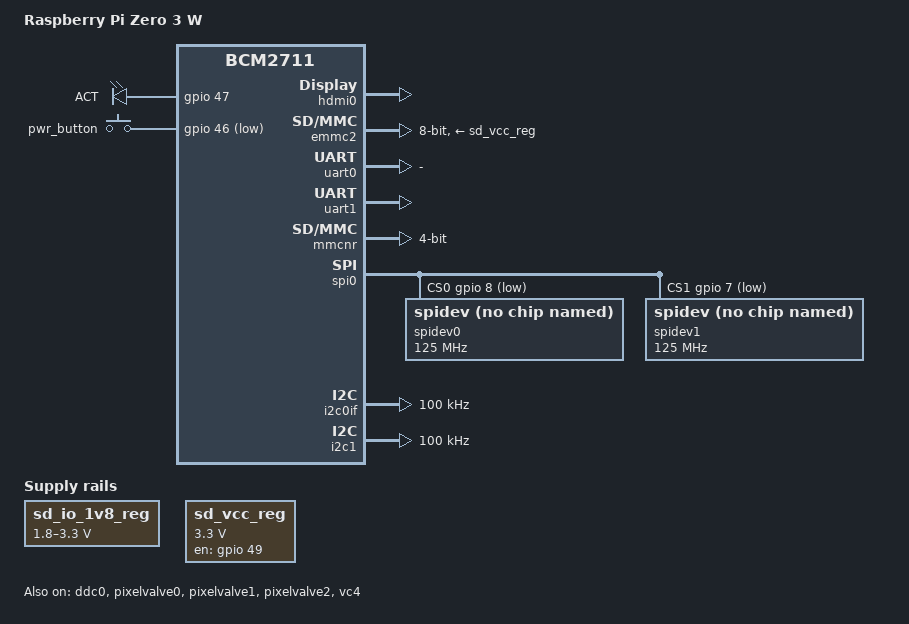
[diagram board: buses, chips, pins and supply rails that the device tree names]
// SPDX-License-Identifier: GPL-2.0
/dts-v1/;
#define BCM2711
#define i2c0 i2c0if
#include "bcm2711.dtsi"
#include "bcm2711-rpi.dtsi"
/delete-node/&i2c0mux;
#include "bcm283x-rpi-wifi-bt.dtsi"
#include <dt-bindings/leds/common.h>
#undef i2c0
#include "bcm270x.dtsi"
#define i2c0 i2c0mux
#undef i2c0

/ {
	compatible = "raspberrypi,model-zero-3-w", "brcm,bcm2711";
	model = "Raspberry Pi Zero 3 W";

	chosen {
		/* 8250 auxiliary UART instead of pl011 */
		stdout-path = "serial1:115200n8";
	};

	leds: leds {
		compatible = "gpio-leds";

		led_act: led-act {
			label = "ACT";
			gpios = <&gpio 47 GPIO_ACTIVE_HIGH>;
			default-state = "off";
			linux,default-trigger = "actpwr";
		};
	};

	sd_io_1v8_reg: regulator-sd-io-1v8 {
		compatible = "regulator-gpio";
		regulator-name = "vdd-sd-io";
		regulator-min-microvolt = <1800000>;
		regulator-max-microvolt = <3300000>;
		regulator-boot-on;
		regulator-always-on;
		regulator-settling-time-us = <5000>;
		gpios = <&gpio 56 GPIO_ACTIVE_HIGH>;
		states = <1800000 0x1>,
			 <3300000 0x0>;
		status = "okay";
	};

	sd_vcc_reg: regulator-sd-vcc {
		compatible = "regulator-fixed";
		regulator-name = "vcc-sd";
		regulator-min-microvolt = <3300000>;
		regulator-max-microvolt = <3300000>;
		regulator-boot-on;
		enable-active-high;
		gpio = <&gpio 49 GPIO_ACTIVE_HIGH>;
	};

	pwr_button {
		compatible = "gpio-keys";

		pwr_key: pwr {
			label = "pwr_button";
			linux,code = <116>; // KEY_POWER
			gpios = <&gpio 46 GPIO_ACTIVE_LOW>;
			debounce-interval = <50>; // ms
		};
	};
};

&bt {
	shutdown-gpios = <&gpio 28 GPIO_ACTIVE_HIGH>;
};

&ddc0 {
	status = "okay";
};

/* Permanently disable DDC1 */
&ddc1 {
	status = "disabled";
};

/delete-node/ &expgpio;

&gpio {
	/*
	 * These names are (mostly) from the schematic.
	 *
	 * Legend:
	 * "FOO" = GPIO line named "FOO" on the schematic
	 * "FOO_N" = GPIO line named "FOO" on schematic, active low
	 */
	gpio-line-names = "ID_SDA",		/*  0 */
			  "ID_SCL",
			  "GPIO2",
			  "GPIO3",
			  "GPIO4",
			  "GPIO5",		/*  5 */
			  "GPIO6",
			  "GPIO7",
			  "GPIO8",
			  "GPIO9",
			  "GPIO10",		/* 10 */
			  "GPIO11",
			  "GPIO12",
			  "GPIO13",
			  /* Serial port */
			  "GPIO14",
			  "GPIO15",		/* 15 */
			  "GPIO16",
			  "GPIO17",
			  "GPIO18",
			  "GPIO19",
			  "GPIO20",		/* 20 */
			  "GPIO21",
			  "GPIO22",
			  "GPIO23",
			  "GPIO24",
			  "GPIO25",		/* 25 */
			  "GPIO26",
			  "GPIO27",
			  "BT_ON",
			  "WL_ON",
			  /* Used by BT module */
			  "BT_CTS",		/* 30 */
			  "BT_RTS",
			  "BT_TXD",
			  "BT_RXD",
			  /* Used by Wifi */
			  "WIFI_SDIO_CLK",
			  "WIFI_SDIO_CMD",		/* 35 */
			  "WIFI_SDIO_D0",
			  "WIFI_SDIO_D1",
			  "WIFI_SDIO_D2",
			  "WIFI_SDIO_D3",
			  /* Used by SPI flash */
			  "FLASH_MISO",		/* 40 */
			  "FLASH_MOSI",
			  "ACT_CLK_R",
			  "SPIFLASH_CE_N",
			  "SDA0",
			  "SCL0",		/* 45 */
			  "PWR_GPIO",
			  "PWR_LED_ON",
			  "PWR_GPIO",
			  "SD_PWR_ON",
			  "PCIE_DET_WAKE",		/* 50 */
			  "PCIE_PWR_EN",
			  "CAM_GPIO1",
			  "CAM_GPIO0",
			  "SD_OC_N",
			  "USB_MUX_SEL",		/* 55 */
			  "VDD_SD_IO_SEL",
			  "-";
};

&hdmi0 {
	status = "okay";
};

/* Permanently disable HDMI1 */
&hdmi1 {
	status = "disabled";
};

&pixelvalve0 {
	status = "okay";
};

&pixelvalve1 {
	status = "okay";
};

&pixelvalve2 {
	status = "okay";
};

/* EMMC2 is used to drive the eMMC/SD card */
&emmc2 {
	bus-width = <8>;
	vqmmc-supply = <&sd_io_1v8_reg>;
	vmmc-supply = <&sd_vcc_reg>;
	broken-cd;
	status = "okay";
};

&pcie0 {
	pci@0,0 {
		device_type = "pci";
		#address-cells = <3>;
		#size-cells = <2>;
		ranges;

		reg = <0 0 0 0 0>;
	};
};

/* uart0 communicates with the BT module */
&uart0 {
	pinctrl-names = "default";
	pinctrl-0 = <&uart0_ctsrts_gpio30 &uart0_gpio32>;
	uart-has-rtscts;
};

/* uart1 is mapped to the pin header */
&uart1 {
	pinctrl-names = "default";
	pinctrl-0 = <&uart1_gpio14>;
	status = "okay";
};

&vc4 {
	status = "okay";
};

&vec {
	status = "disabled";
};

&wifi_pwrseq {
	reset-gpios = <&gpio 29 GPIO_ACTIVE_LOW>;
};

// =============================================
// Downstream rpi- changes

#include "bcm271x-rpi-bt.dtsi"

&bt {
	shutdown-gpios = <&gpio 28 GPIO_ACTIVE_HIGH>;
};

&minibt {
	shutdown-gpios = <&gpio 28 GPIO_ACTIVE_HIGH>;
};

/ {
	soc {
		/delete-node/ pixelvalve@7e807000;
		/delete-node/ hdmi@7e902000;
	};
};

#include "bcm2711-rpi-ds.dtsi"
#include "bcm283x-rpi-csi1-4lane.dtsi"
#include "bcm283x-rpi-i2c0mux_0_44.dtsi"

/ {
	/delete-node/ wifi-pwrseq;
};

&mmcnr {
	pinctrl-names = "default";
	pinctrl-0 = <&sdio_pins>;
	bus-width = <4>;
	status = "okay";
};

&uart0 {
	pinctrl-0 = <&uart0_pins &bt_pins>;
	status = "okay";
};

&uart1 {
	pinctrl-0 = <&uart1_pins>;
};

&spi0 {
	pinctrl-names = "default";
	pinctrl-0 = <&spi0_pins &spi0_cs_pins>;
	cs-gpios = <&gpio 8 1>, <&gpio 7 1>;

	spidev0: spidev@0{
		compatible = "spidev";
		reg = <0>;	/* CE0 */
		#address-cells = <1>;
		#size-cells = <0>;
		spi-max-frequency = <125000000>;
	};

	spidev1: spidev@1{
		compatible = "spidev";
		reg = <1>;	/* CE1 */
		#address-cells = <1>;
		#size-cells = <0>;
		spi-max-frequency = <125000000>;
	};
};

&gpio {
	bt_pins: bt_pins {
		brcm,pins = "-"; // non-empty to keep btuart happy, //4 = 0
				 // to fool pinctrl
		brcm,function = <0>;
		brcm,pull = <2>;
	};

	uart0_pins: uart0_pins {
		brcm,pins = <32 33>;
		brcm,function = <BCM2835_FSEL_ALT3>;
		brcm,pull = <0 2>;
	};

	uart1_pins: uart1_pins {
		brcm,pins;
		brcm,function;
		brcm,pull;
	};

	uart1_bt_pins: uart1_bt_pins {
		brcm,pins = <32 33 30 31>;
		brcm,function = <BCM2835_FSEL_ALT5>; /* alt5=UART1 */
		brcm,pull = <0 2 2 0>;
	};
};

&i2c0if {
	clock-frequency = <100000>;
};

&i2c1 {
	pinctrl-names = "default";
	pinctrl-0 = <&i2c1_pins>;
	clock-frequency = <100000>;
};

&i2s {
	pinctrl-names = "default";
	pinctrl-0 = <&i2s_pins>;
};

// =============================================
// Board specific stuff here

&sdhost {
	status = "disabled";
};


&gpio {
	audio_pins: audio_pins {
		brcm,pins = <>;
		brcm,function = <>;
	};
};

&vchiq {
	pinctrl-names = "default";
	pinctrl-0 = <&audio_pins>;
};

&cam1_reg {
	gpio = <&gpio 53 GPIO_ACTIVE_HIGH>;
};

cam0_reg: &cam_dummy_reg {
};

i2c_csi_dsi0: &i2c0 {
};

/ {
	__overrides__ {
		audio = <&chosen>,"bootargs{on='snd_bcm2835.enable_hdmi=1',off='snd_bcm2835.enable_hdmi=0'}";

		act_led_gpio = <&led_act>,"gpios:4";
		act_led_activelow = <&led_act>,"gpios:8";
		act_led_trigger = <&led_act>,"linux,default-trigger";

		pcie_tperst_clk_ms = <&pcie0>,"brcm,tperst-clk-ms:0";
	};
};
